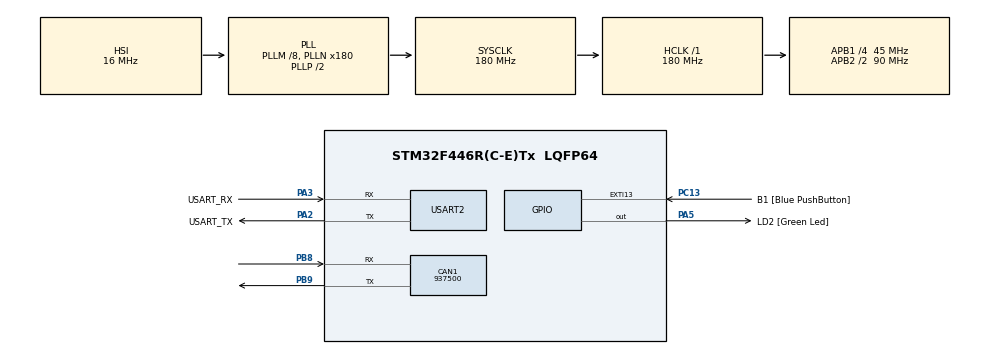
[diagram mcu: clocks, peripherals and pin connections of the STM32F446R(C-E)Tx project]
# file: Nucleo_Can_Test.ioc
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CAN1.CalculateBaudRate=937500
CAN1.CalculateTimeBit=1066
CAN1.CalculateTimeQuantum=355.55555555555554
Mcu.Family=STM32F4
Mcu.Name=STM32F446R(C-E)Tx
Mcu.Package=LQFP64
NVIC.PriorityGroup=NVIC_PRIORITYGROUP_0
PA13.GPIO_Label=TMS
PA13.Mode=Serial_Wire
PA13.Signal=SYS_JTMS-SWDIO
PA14.GPIO_Label=TCK
PA14.Mode=Serial_Wire
PA14.Signal=SYS_JTCK-SWCLK
PA2.GPIO_Label=USART_TX
PA2.Mode=Asynchronous
PA2.Signal=USART2_TX
PA3.GPIO_Label=USART_RX
PA3.Mode=Asynchronous
PA3.Signal=USART2_RX
PA5.GPIO_Label=LD2 [Green Led]
PA5.Signal=GPIO_Output
PB8.Mode=CAN_Activate
PB8.Signal=CAN1_RX
PB9.Mode=CAN_Activate
PB9.Signal=CAN1_TX
PC13.GPIO_Label=B1 [Blue PushButton]
PC13.GPIO_ModeDefaultEXTI=GPIO_MODE_IT_FALLING
PC13.Signal=GPXTI13
PC14-OSC32_IN.Mode=LSE-External-Oscillator
PC14-OSC32_IN.Signal=RCC_OSC32_IN
PC15-OSC32_OUT.Mode=LSE-External-Oscillator
PC15-OSC32_OUT.Signal=RCC_OSC32_OUT
PH0-OSC_IN.Mode=HSE-External-Oscillator
PH0-OSC_IN.Signal=RCC_OSC_IN
PH1-OSC_OUT.Mode=HSE-External-Oscillator
PH1-OSC_OUT.Signal=RCC_OSC_OUT
ProjectManager.HeapSize=0x200
ProjectManager.StackSize=0x400
ProjectManager.TargetToolchain=STM32CubeIDE
RCC.48MHZClocksFreq_Value=84000000
RCC.AHBFreq_Value=180000000
RCC.APB1CLKDivider=RCC_HCLK_DIV4
RCC.APB1Freq_Value=45000000
RCC.APB1TimFreq_Value=90000000
RCC.APB2CLKDivider=RCC_HCLK_DIV2
RCC.APB2Freq_Value=90000000
RCC.APB2TimFreq_Value=180000000
RCC.CortexFreq_Value=180000000
RCC.FLatency-AdvancedSettings=FLASH_LATENCY_5
RCC.HCLKFreq_Value=180000000
RCC.HSE_VALUE=8000000
RCC.HSI_VALUE=16000000
RCC.PLLM=8
RCC.PLLN=180
RCC.SYSCLKFreq_VALUE=180000000
RCC.SYSCLKSource=RCC_SYSCLKSOURCE_PLLCLK
RCC.USBFreq_Value=180000000
RCC.VCOOutputFreq_Value=360000000
USART2.VirtualMode=VM_ASYNC
board=NUCLEO-F446RE

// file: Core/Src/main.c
/* USER CODE BEGIN Header */
/**
  ******************************************************************************
  * @file           : main.c
  * @brief          : Main program body
  ******************************************************************************
  * @attention
  *
  * Copyright (c) 2024 STMicroelectronics.
  * All rights reserved.
  *
  * This software is licensed under terms that can be found in the LICENSE file
  * in the root directory of this software component.
  * If no LICENSE file comes with this software, it is provided AS-IS.
  *
  ******************************************************************************
  */
/* USER CODE END Header */
#include "main.h"
#include "can.h"
#include "usart.h"
#include "gpio.h"

void SystemClock_Config(void);

/* USER CODE BEGIN 0 */
CAN_TxHeaderTypeDef TxHeader;
CAN_RxHeaderTypeDef RxHeader;

int ctr = 0;

uint32_t TxMailbox;

uint8_t TxData[8];
uint8_t RxData[8];

uint32_t count = 0;

HAL_StatusTypeDef state = 3;

HAL_StatusTypeDef notifres = 2;

void HAL_CAN_RxFifo0MsgPendingCallback(CAN_HandleTypeDef *hcan)
{
	HAL_CAN_GetRxMessage(hcan, CAN_RX_FIFO0, &RxHeader, RxData);
	count++;
}

/* USER CODE END 0 */

int main(void)
{

  /* MCU Configuration--------------------------------------------------------*/

  /* Reset of all peripherals, Initializes the Flash interface and the Systick. */
  HAL_Init();

  /* Configure the system clock */
  SystemClock_Config();

  /* Initialize all configured peripherals */
  MX_GPIO_Init();
  MX_USART2_UART_Init();
  MX_CAN1_Init();
  /* USER CODE BEGIN 2 */
  CAN_FilterTypeDef canfilterconfig;

    canfilterconfig.FilterActivation = CAN_FILTER_ENABLE;
    canfilterconfig.FilterBank = 18;
    canfilterconfig.FilterFIFOAssignment = CAN_RX_FIFO0;
    canfilterconfig.FilterIdHigh = 0x120<<5;
    canfilterconfig.FilterIdLow = 0x0000;
    canfilterconfig.FilterMaskIdHigh = 0x161<<5;
    canfilterconfig.FilterMaskIdLow = 0x0000;
    canfilterconfig.FilterMode = CAN_FILTERMODE_IDMASK;
    canfilterconfig.FilterScale = CAN_FILTERSCALE_32BIT;
    canfilterconfig.SlaveStartFilterBank = 20;
    HAL_CAN_ConfigFilter(&hcan1, &canfilterconfig);

  HAL_CAN_Start(&hcan1);
  notifres = HAL_CAN_ActivateNotification(&hcan1, CAN_IT_RX_FIFO0_MSG_PENDING);

  TxHeader.IDE = CAN_ID_STD;
  TxHeader.StdId = 0x110;
  TxHeader.RTR = CAN_RTR_DATA;
  TxHeader.DLC = 5;

  TxData[0] = 50;
  TxData[1] = 0xAA;
  TxData[2] = 50;
  TxData[3] = 0xAA;
  TxData[4] = 50;

  /* USER CODE END 2 */

  /* Infinite loop */
  /* USER CODE BEGIN WHILE */
  while (1)
  {
	 state = HAL_CAN_AddTxMessage(&hcan1, &TxHeader, TxData, &TxMailbox);
	 if(state == HAL_OK){
	 	ctr++;
	 }
	 HAL_Delay(300);
    /* USER CODE END WHILE */

  }
}

void SystemClock_Config(void)
{
  RCC_OscInitTypeDef RCC_OscInitStruct = {0};
  RCC_ClkInitTypeDef RCC_ClkInitStruct = {0};

  /** Configure the main internal regulator output voltage
  */
  __HAL_RCC_PWR_CLK_ENABLE();
  __HAL_PWR_VOLTAGESCALING_CONFIG(PWR_REGULATOR_VOLTAGE_SCALE1);

  /** Initializes the RCC Oscillators according to the specified parameters
  * in the RCC_OscInitTypeDef structure.
  */
  RCC_OscInitStruct.OscillatorType = RCC_OSCILLATORTYPE_HSI;
  RCC_OscInitStruct.HSIState = RCC_HSI_ON;
  RCC_OscInitStruct.HSICalibrationValue = RCC_HSICALIBRATION_DEFAULT;
  RCC_OscInitStruct.PLL.PLLState = RCC_PLL_ON;
  RCC_OscInitStruct.PLL.PLLSource = RCC_PLLSOURCE_HSI;
  RCC_OscInitStruct.PLL.PLLM = 8;
  RCC_OscInitStruct.PLL.PLLN = 180;
  RCC_OscInitStruct.PLL.PLLP = RCC_PLLP_DIV2;
  RCC_OscInitStruct.PLL.PLLQ = 2;
  RCC_OscInitStruct.PLL.PLLR = 2;
  if (HAL_RCC_OscConfig(&RCC_OscInitStruct) != HAL_OK)
  {
    Error_Handler();
  }

  /** Activate the Over-Drive mode
  */
  if (HAL_PWREx_EnableOverDrive() != HAL_OK)
  {
    Error_Handler();
  }

  /** Initializes the CPU, AHB and APB buses clocks
  */
  RCC_ClkInitStruct.ClockType = RCC_CLOCKTYPE_HCLK|RCC_CLOCKTYPE_SYSCLK
                              |RCC_CLOCKTYPE_PCLK1|RCC_CLOCKTYPE_PCLK2;
  RCC_ClkInitStruct.SYSCLKSource = RCC_SYSCLKSOURCE_PLLCLK;
  RCC_ClkInitStruct.AHBCLKDivider = RCC_SYSCLK_DIV1;
  RCC_ClkInitStruct.APB1CLKDivider = RCC_HCLK_DIV4;
  RCC_ClkInitStruct.APB2CLKDivider = RCC_HCLK_DIV2;

  if (HAL_RCC_ClockConfig(&RCC_ClkInitStruct, FLASH_LATENCY_5) != HAL_OK)
  {
    Error_Handler();
  }
}

void Error_Handler(void)
{
  __disable_irq();
  while (1)
  {
  }
}
